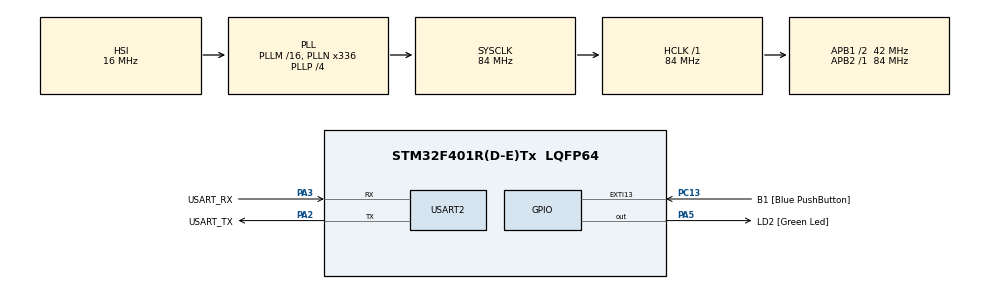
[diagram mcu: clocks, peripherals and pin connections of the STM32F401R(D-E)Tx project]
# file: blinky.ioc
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Mcu.Family=STM32F4
Mcu.Name=STM32F401R(D-E)Tx
Mcu.Package=LQFP64
NVIC.PriorityGroup=NVIC_PRIORITYGROUP_4
PA13.GPIO_Label=TMS
PA13.Mode=Trace_Asynchronous_SW
PA13.Signal=SYS_JTMS-SWDIO
PA14.GPIO_Label=TCK
PA14.Mode=Trace_Asynchronous_SW
PA14.Signal=SYS_JTCK-SWCLK
PA2.GPIO_Label=USART_TX
PA2.GPIO_Mode=GPIO_MODE_AF_PP
PA2.GPIO_PuPd=GPIO_NOPULL
PA2.GPIO_Speed=GPIO_SPEED_FREQ_LOW
PA2.Mode=Asynchronous
PA2.Signal=USART2_TX
PA3.GPIO_Label=USART_RX
PA3.GPIO_Mode=GPIO_MODE_AF_PP
PA3.GPIO_PuPd=GPIO_NOPULL
PA3.GPIO_Speed=GPIO_SPEED_FREQ_LOW
PA3.Mode=Asynchronous
PA3.Signal=USART2_RX
PA5.GPIO_Label=LD2 [Green Led]
PA5.GPIO_Mode=GPIO_MODE_OUTPUT_PP
PA5.GPIO_PuPd=GPIO_NOPULL
PA5.GPIO_Speed=GPIO_SPEED_FREQ_LOW
PA5.Signal=GPIO_Output
PB3.GPIO_Label=SWO
PB3.Mode=Trace_Asynchronous_SW
PB3.Signal=SYS_JTDO-SWO
PC13-ANTI_TAMP.GPIO_Label=B1 [Blue PushButton]
PC13-ANTI_TAMP.GPIO_ModeDefaultEXTI=GPIO_MODE_IT_FALLING
PC13-ANTI_TAMP.GPIO_PuPd=GPIO_NOPULL
PC13-ANTI_TAMP.Signal=GPXTI13
PC14-OSC32_IN.Mode=LSE-External-Oscillator
PC14-OSC32_IN.Signal=RCC_OSC32_IN
PC15-OSC32_OUT.Mode=LSE-External-Oscillator
PC15-OSC32_OUT.Signal=RCC_OSC32_OUT
PH0\ -\ OSC_IN.Mode=HSE-External-Clock-Source
PH0\ -\ OSC_IN.Signal=RCC_OSC_IN
PH1\ -\ OSC_OUT.Mode=HSE-External-Clock-Source
PH1\ -\ OSC_OUT.Signal=RCC_OSC_OUT
ProjectManager.HeapSize=0x200
ProjectManager.StackSize=0x400
ProjectManager.TargetToolchain=CMake
RCC.48MHZClocksFreq_Value=48000000
RCC.AHBFreq_Value=84000000
RCC.APB1CLKDivider=RCC_HCLK_DIV2
RCC.APB1Freq_Value=42000000
RCC.APB1TimFreq_Value=84000000
RCC.APB2Freq_Value=84000000
RCC.APB2TimFreq_Value=84000000
RCC.CortexFreq_Value=84000000
RCC.HCLKFreq_Value=84000000
RCC.HSE_VALUE=8000000
RCC.HSI_VALUE=16000000
RCC.PLLN=336
RCC.PLLP=RCC_PLLP_DIV4
RCC.PLLQ=7
RCC.SYSCLKFreq_VALUE=84000000
RCC.SYSCLKSource=RCC_SYSCLKSOURCE_PLLCLK
RCC.VCOOutputFreq_Value=336000000
USART2.VirtualMode=VM_ASYNC
board=NUCLEO-F401RE

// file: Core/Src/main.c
/* USER CODE BEGIN Header */
/**
  ******************************************************************************
  * @file           : main.c
  * @brief          : Main program body
  ******************************************************************************
  * @attention
  *
  * Copyright (c) 2026 STMicroelectronics.
  * All rights reserved.
  *
  * This software is licensed under terms that can be found in the LICENSE file
  * in the root directory of this software component.
  * If no LICENSE file comes with this software, it is provided AS-IS.
  *
  ******************************************************************************
  */
/* USER CODE END Header */
#include "main.h"
#include "stdint.h"
#include "stdio.h"
#include "stddef.h"

/* USER CODE BEGIN PD */
typedef struct
{
  char name[10];
 uint8_t size;
  /* data */
} Items;

/* USER CODE END PD */

/* USER CODE BEGIN PM */
#define SHOW(t) printf("%-10s %zu",#t, sizeof(t))
/* USER CODE END PM */

UART_HandleTypeDef huart2;

void SystemClock_Config(void);
static void MX_GPIO_Init(void);
static void MX_USART2_UART_Init(void);

int main(void)
{

  /* MCU Configuration--------------------------------------------------------*/

  /* Reset of all peripherals, Initializes the Flash interface and the Systick. */
  HAL_Init();

  /* Configure the system clock */
  SystemClock_Config();

  /* Initialize all configured peripherals */
  MX_GPIO_Init();
  MX_USART2_UART_Init();

  /* Infinite loop */
  /* USER CODE BEGIN WHILE */
  uint32_t  blink_count = 0;
  uint32_t blink_delay_ms = 500;
  Items sizes[13] = {
    {"char", sizeof(char)},
    {"int",sizeof(int)},
    {"short",sizeof(short)},
    {"long",sizeof(long)},
    {"long long",sizeof(long long)},
    {"float",sizeof(float)},
    {"double",sizeof(double)},
    {"uint_8",sizeof(uint8_t)},
    {"uint_16",sizeof(uint16_t)},
    {"uint_32",sizeof(uint32_t)},
    {"uint_64",sizeof(uint64_t)},
    {"size_t",sizeof(size_t)},
    {"Void *",sizeof(void *)}
  };
  uint8_t size_v;
  char var_name;
  while (1)
  {
    /* USER CODE END WHILE */

    /* USER CODE BEGIN 3 */

    HAL_GPIO_TogglePin(LD2_GPIO_Port, LD2_Pin);
    blink_count++;
    HAL_Delay(blink_delay_ms);
  }
  /* USER CODE END 3 */
}

void SystemClock_Config(void)
{
  RCC_OscInitTypeDef RCC_OscInitStruct = {0};
  RCC_ClkInitTypeDef RCC_ClkInitStruct = {0};

  /** Configure the main internal regulator output voltage
  */
  __HAL_RCC_PWR_CLK_ENABLE();
  __HAL_PWR_VOLTAGESCALING_CONFIG(PWR_REGULATOR_VOLTAGE_SCALE2);

  /** Initializes the RCC Oscillators according to the specified parameters
  * in the RCC_OscInitTypeDef structure.
  */
  RCC_OscInitStruct.OscillatorType = RCC_OSCILLATORTYPE_HSI;
  RCC_OscInitStruct.HSIState = RCC_HSI_ON;
  RCC_OscInitStruct.HSICalibrationValue = RCC_HSICALIBRATION_DEFAULT;
  RCC_OscInitStruct.PLL.PLLState = RCC_PLL_ON;
  RCC_OscInitStruct.PLL.PLLSource = RCC_PLLSOURCE_HSI;
  RCC_OscInitStruct.PLL.PLLM = 16;
  RCC_OscInitStruct.PLL.PLLN = 336;
  RCC_OscInitStruct.PLL.PLLP = RCC_PLLP_DIV4;
  RCC_OscInitStruct.PLL.PLLQ = 7;
  if (HAL_RCC_OscConfig(&RCC_OscInitStruct) != HAL_OK)
  {
    Error_Handler();
  }

  /** Initializes the CPU, AHB and APB buses clocks
  */
  RCC_ClkInitStruct.ClockType = RCC_CLOCKTYPE_HCLK|RCC_CLOCKTYPE_SYSCLK
                              |RCC_CLOCKTYPE_PCLK1|RCC_CLOCKTYPE_PCLK2;
  RCC_ClkInitStruct.SYSCLKSource = RCC_SYSCLKSOURCE_PLLCLK;
  RCC_ClkInitStruct.AHBCLKDivider = RCC_SYSCLK_DIV1;
  RCC_ClkInitStruct.APB1CLKDivider = RCC_HCLK_DIV2;
  RCC_ClkInitStruct.APB2CLKDivider = RCC_HCLK_DIV1;

  if (HAL_RCC_ClockConfig(&RCC_ClkInitStruct, FLASH_LATENCY_2) != HAL_OK)
  {
    Error_Handler();
  }
}

static void MX_USART2_UART_Init(void)
{

  huart2.Instance = USART2;
  huart2.Init.BaudRate = 115200;
  huart2.Init.WordLength = UART_WORDLENGTH_8B;
  huart2.Init.StopBits = UART_STOPBITS_1;
  huart2.Init.Parity = UART_PARITY_NONE;
  huart2.Init.Mode = UART_MODE_TX_RX;
  huart2.Init.HwFlowCtl = UART_HWCONTROL_NONE;
  huart2.Init.OverSampling = UART_OVERSAMPLING_16;
  if (HAL_UART_Init(&huart2) != HAL_OK)
  {
    Error_Handler();
  }

}

static void MX_GPIO_Init(void)
{
  GPIO_InitTypeDef GPIO_InitStruct = {0};

  /* GPIO Ports Clock Enable */
  __HAL_RCC_GPIOC_CLK_ENABLE();
  __HAL_RCC_GPIOH_CLK_ENABLE();
  __HAL_RCC_GPIOA_CLK_ENABLE();
  __HAL_RCC_GPIOB_CLK_ENABLE();

  /*Configure GPIO pin Output Level */
  HAL_GPIO_WritePin(LD2_GPIO_Port, LD2_Pin, GPIO_PIN_RESET);

  /*Configure GPIO pin : B1_Pin */
  GPIO_InitStruct.Pin = B1_Pin;
  GPIO_InitStruct.Mode = GPIO_MODE_IT_FALLING;
  GPIO_InitStruct.Pull = GPIO_NOPULL;
  HAL_GPIO_Init(B1_GPIO_Port, &GPIO_InitStruct);

  /*Configure GPIO pin : LD2_Pin */
  GPIO_InitStruct.Pin = LD2_Pin;
  GPIO_InitStruct.Mode = GPIO_MODE_OUTPUT_PP;
  GPIO_InitStruct.Pull = GPIO_NOPULL;
  GPIO_InitStruct.Speed = GPIO_SPEED_FREQ_LOW;
  HAL_GPIO_Init(LD2_GPIO_Port, &GPIO_InitStruct);

}

void Error_Handler(void)
{
  __disable_irq();
  while (1)
  {
  }
}
